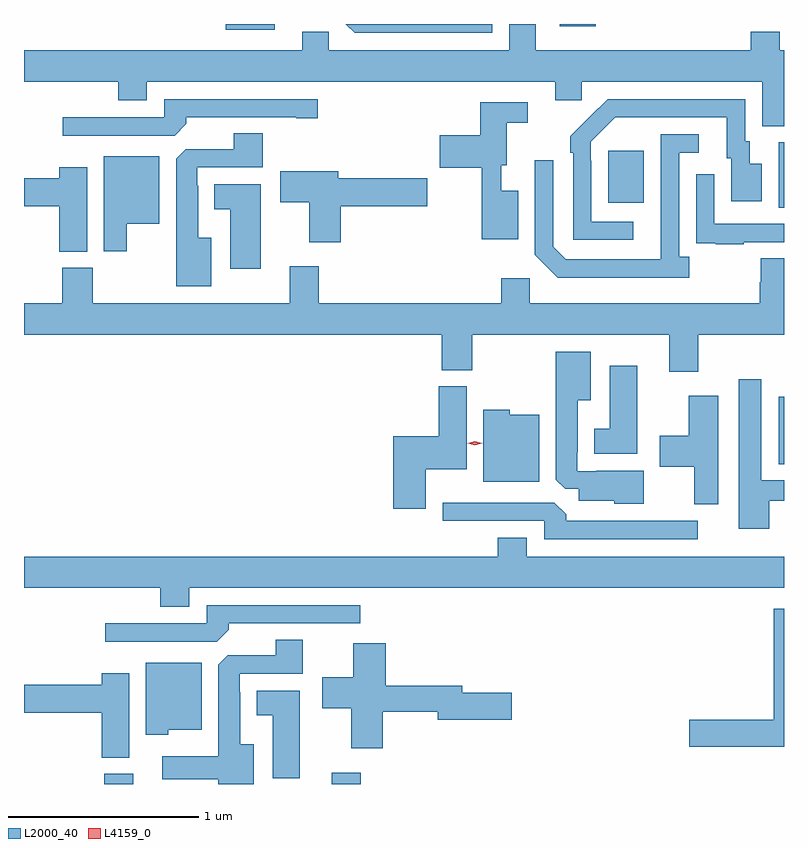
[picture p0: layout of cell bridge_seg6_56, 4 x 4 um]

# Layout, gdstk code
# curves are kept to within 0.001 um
import gdstk
lib = gdstk.Library(unit=1e-6, precision=1e-09)
def R(c, l, rs):  # rectangles x0, y0, x1, y1
    for r in rs: c.add(gdstk.rectangle(r[:2], r[2:], *l))
def P(c, l, *ps):  # polygons
    for p in ps: c.add(gdstk.Polygon(p, *l))
L2000_40 = (2000, 40)
L4159_0 = (4159, 0)

bridge_seg6_56 = lib.new_cell('bridge_seg6_56')
R(bridge_seg6_56, L2000_40, [(1059.137,980.935,1059.289,980.988), (1060.334,980.935,1060.487,980.995), (1062.686,982.618,1062.714,982.972), (1062.686,983.968,1062.714,984.312), (1061.789,983.993,1061.977,984.268), (1059.775,984.906,1060.033,984.935), (1061.535,984.924,1061.723,984.935)])
P(bridge_seg6_56, L2000_40, [(1062.714,984.796),(1062.691,984.796),(1062.691,984.895),(1062.539,984.895),(1062.539,984.796),(1061.407,984.796),(1061.407,984.935),(1061.267,984.935),(1061.267,984.796),(1060.317,984.796),(1060.317,984.894),(1060.178,984.894),(1060.178,984.796),(1058.714,984.796),(1058.714,984.632),(1059.209,984.632),(1059.209,984.533),(1059.361,984.533),(1059.361,984.632),(1061.51,984.632),(1061.51,984.534),(1061.649,984.534),(1061.649,984.632),(1062.599,984.632),(1062.599,984.397),(1062.714,984.397)],
  [(1061.178,984.935),(1060.407,984.935),(1060.454,984.888),(1061.178,984.888)],
  [(1059.569,984.41),(1059.569,984.444),(1060.148,984.444),(1060.148,984.439),(1060.261,984.439),(1060.261,984.54),(1059.453,984.54),(1059.453,984.444),(1058.919,984.444),(1058.919,984.348),(1059.507,984.348)],
  [(1061.92,983.895),(1061.7,983.895),(1061.7,984.215),(1061.697,984.215),(1061.697,984.315),(1061.826,984.444),(1062.413,984.444),(1062.413,984.228),(1062.437,984.228),(1062.437,984.003),(1062.598,984.003),(1062.598,984.199),(1062.535,984.199),(1062.535,984.318),(1062.51,984.318),(1062.51,984.54),(1061.786,984.54),(1061.589,984.345),(1061.589,984.257),(1061.604,984.257),(1061.604,983.799),(1061.92,983.799)],
  [(1061.314,984.058),(1061.225,984.058),(1061.225,984.191),(1061.254,984.191),(1061.254,984.414),(1061.365,984.414),(1061.365,984.522),(1061.114,984.522),(1061.114,984.349),(1060.902,984.349),(1060.902,984.179),(1061.122,984.179),(1061.122,983.801),(1061.314,983.801)],
  [(1059.7,983.809),(1059.631,983.809),(1059.631,984.083),(1059.627,984.083),(1059.627,984.18),(1059.971,984.18),(1059.971,984.359),(1059.818,984.359),(1059.818,984.276),(1059.564,984.276),(1059.515,984.227),(1059.515,983.555),(1059.7,983.555)],
  [(1062.214,983.71),(1062.162,983.71),(1062.162,984.258),(1062.265,984.258),(1062.265,984.354),(1062.066,984.354),(1062.065,983.697),(1061.565,983.697),(1061.499,983.763),(1061.499,984.217),(1061.403,984.217),(1061.403,983.721),(1061.524,983.6),(1062.214,983.6)],
  [(1059.256,983.885),(1059.427,983.885),(1059.427,984.238),(1059.134,984.238),(1059.134,983.739),(1059.256,983.739)],
  [(1059.046,984.181),(1058.9,984.181),(1058.9,984.122),(1058.714,984.122),(1058.714,983.975),(1058.9,983.975),(1058.9,983.737),(1059.046,983.737)],
  [(1060.382,983.975),(1060.837,983.975),(1060.837,984.122),(1060.369,984.122),(1060.369,984.16),(1060.062,984.16),(1060.062,983.998),(1060.214,983.998),(1060.214,983.787),(1060.382,983.787)],
  [(1062.503,983.787),(1062.714,983.787),(1062.714,983.883),(1062.348,983.883),(1062.348,984.145),(1062.252,984.145),(1062.252,983.89),(1062.253,983.89),(1062.253,983.781),(1062.355,983.781),(1062.355,983.775),(1062.503,983.775)],
  [(1059.961,984.091),(1059.716,984.091),(1059.716,983.96),(1059.8,983.96),(1059.8,983.646),(1059.961,983.646)],
  [(1062.263,983.3),(1062.714,983.3),(1062.714,983.702),(1062.592,983.702),(1062.592,983.577),(1062.587,983.577),(1062.587,983.464),(1061.376,983.464),(1061.376,983.596),(1061.225,983.596),(1061.225,983.464),(1060.265,983.464),(1060.265,983.659),(1060.112,983.659),(1060.112,983.464),(1059.075,983.464),(1059.075,983.652),(1058.915,983.652),(1058.915,983.464),(1058.714,983.464),(1058.714,983.3),(1060.913,983.3),(1060.913,983.113),(1061.073,983.113),(1061.073,983.3),(1062.11,983.3),(1062.11,983.106),(1062.263,983.106)],
  [(1061.977,982.585),(1061.725,982.585),(1061.725,982.581),(1061.625,982.581),(1061.625,982.681),(1061.629,982.681),(1061.629,982.955),(1061.698,982.955),(1061.698,983.209),(1061.513,983.209),(1061.513,982.537),(1061.562,982.488),(1061.633,982.488),(1061.633,982.427),(1061.82,982.427),(1061.82,982.409),(1061.977,982.409)],
  [(1061.941,983.137),(1061.798,983.137),(1061.798,982.804),(1061.714,982.804),(1061.714,982.673),(1061.941,982.673)],
  [(1062.637,982.425),(1062.714,982.425),(1062.714,982.533),(1062.595,982.533),(1062.595,983.065),(1062.476,983.065),(1062.476,982.278),(1062.637,982.278)],
  [(1060.828,982.592),(1061.044,982.592),(1061.044,983.028),(1060.898,983.028),(1060.898,982.765),(1060.658,982.765),(1060.658,982.383),(1060.828,982.383)],
  [(1062.367,982.978),(1062.212,982.978),(1062.212,982.767),(1062.06,982.767),(1062.06,982.604),(1062.242,982.604),(1062.242,982.407),(1062.367,982.407)],
  [(1061.425,982.879),(1061.271,982.879),(1061.271,982.906),(1061.132,982.906),(1061.132,982.526),(1061.425,982.526)],
  [(1062.259,982.32),(1061.567,982.32),(1061.567,982.354),(1061.505,982.416),(1060.917,982.416),(1060.917,982.32),(1061.451,982.32),(1061.451,982.224),(1062.259,982.224)],
  [(1059.583,981.968),(1062.714,981.968),(1062.714,982.132),(1061.359,982.132),(1061.359,982.231),(1061.207,982.231),(1061.207,982.132),(1058.714,982.132),(1058.714,981.968),(1059.431,981.968),(1059.431,981.869),(1059.583,981.869)],
  [(1059.791,981.746),(1059.791,981.78),(1060.483,981.78),(1060.483,981.876),(1059.675,981.876),(1059.675,981.78),(1059.141,981.78),(1059.141,981.684),(1059.729,981.684)],
  [(1062.714,981.858),(1062.661,981.858),(1062.661,981.272),(1062.216,981.272),(1062.216,981.13),(1062.714,981.13)],
  [(1059.922,981.145),(1059.853,981.145),(1059.853,981.419),(1059.849,981.419),(1059.849,981.516),(1060.18,981.516),(1060.18,981.695),(1060.04,981.695),(1060.04,981.612),(1059.786,981.612),(1059.737,981.563),(1059.737,981.082),(1059.441,981.082),(1059.441,980.96),(1059.737,980.96),(1059.737,980.935),(1059.922,980.935)],
  [(1060.602,981.316),(1060.892,981.316),(1060.892,981.274),(1061.281,981.274),(1061.281,981.416),(1061.02,981.416),(1061.02,981.452),(1060.619,981.452),(1060.619,981.676),(1060.448,981.676),(1060.448,981.496),(1060.284,981.496),(1060.284,981.334),(1060.436,981.334),(1060.436,981.123),(1060.602,981.123)],
  [(1059.474,981.221),(1059.649,981.221),(1059.649,981.574),(1059.356,981.574),(1059.356,981.194),(1059.474,981.194)],
  [(1059.268,981.517),(1059.122,981.517),(1059.122,981.458),(1058.714,981.458),(1058.714,981.311),(1059.122,981.311),(1059.122,981.073),(1059.268,981.073)],
  [(1060.165,981.427),(1059.938,981.427),(1059.938,981.296),(1060.022,981.296),(1060.022,980.964),(1060.165,980.964)])
P(bridge_seg6_56, L4159_0, [(1061.087,982.719),(1061.049,982.729),(1061.049,982.729),(1061.049,982.729),(1061.087,982.739),(1061.125,982.729),(1061.125,982.729),(1061.125,982.729)])

lib.write_gds('bridge_seg6_56.gds')
